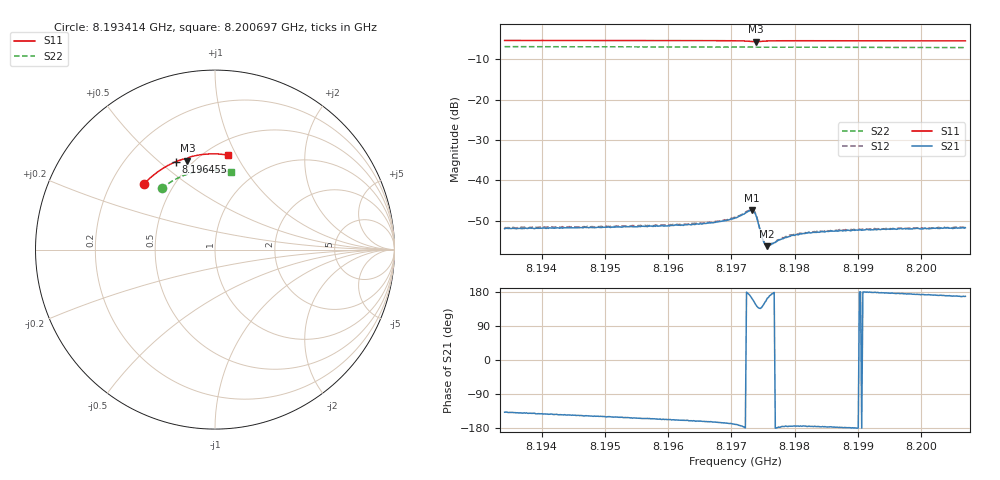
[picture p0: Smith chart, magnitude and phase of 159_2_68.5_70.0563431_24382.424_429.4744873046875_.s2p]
#  HZ  S  RI  R  50.00
! Rohde & Schwarz Vector Network Analyzer
! Rohde-Schwarz,ZNB20-2Port,1311601062101988,3.16
! Created: UTC 3/20/2024, 5:10:51 PM
! freq[Hz]  re:S11  im:S11  re:S21  im:S21  re:S12  im:S12  re:S22  im:S22
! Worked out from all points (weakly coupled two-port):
!   401 points, 8.193414 GHz to 8.200697 GHz, reference 50 ohm
!   highest |S21| = -47.38 dB at 8.197329 GHz (marker M1); lowest = -56.3 dB at 8.197565 GHz (marker M2)
!   lowest |S11| = -5.7 dB at 8.197383 GHz (marker M3), VSWR 3.16, Z = 23.1 + j31.4 ohm
!   |S11| at or under -10 dB: nowhere
!   |S22| runs from -7.1 to -6.9 dB; largest |S21 - S12| = 0.00021
!   S11 on the Smith chart (normalised r, x): 8.193414 GHz: 0.34, +0.35; 8.196455 GHz: 0.41, +0.57; 8.200697 GHz: 0.63, +0.93
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8.1934135e9  -0.3936 0.3683  -0.00187 -0.00169  -0.00199 -0.00172  -0.2971 0.3406
8.1946336e9  -0.3293 0.4255  -0.00218 -0.00142  -0.00227 -0.00138  -0.2414 0.3799
8.1958536e9  -0.2567 0.4718  -0.00249 -0.0011  -0.00261 -0.00103  -0.1804 0.4107
8.1964546e9  -0.2178 0.4902  -0.00274 -0.000941  -0.00283 -0.000841  -0.1486 0.422
8.1968188e9  -0.1927 0.4998  -0.00299 -0.000799  -0.00305 -0.00073  -0.1289 0.4279
8.1970555e9  -0.1747 0.5049  -0.00337 -0.000602  -0.00346 -0.00047  -0.1157 0.4311
8.197274e9  -0.1553 0.5036  -0.00415 0.00047  -0.00418 0.000639  -0.1039 0.4336
8.1973286e9  -0.1522 0.4993  -0.00406 0.00134  -0.00405 0.00156  -0.1007 0.434
8.1973651e9  -0.1528 0.4966  -0.00351 0.00194  -0.00353 0.00213  -0.0989 0.4345
8.1973833e9  -0.154 0.4958  -0.00311 0.00209  -0.00309 0.00229  -0.0981 0.4346
8.1974197e9  -0.1567 0.4969  -0.00227 0.00202  -0.00222 0.00216  -0.0961 0.4349
8.1974925e9  -0.1569 0.5036  -0.00147 0.00113  -0.00146 0.00123  -0.0922 0.4359
8.197529e9  -0.1548 0.5067  -0.00142 0.000746  -0.00142 0.000823  -0.0901 0.4364
8.1975654e9  -0.1522 0.5091  -0.00146 0.000452  -0.00147 0.000549  -0.088 0.4368
8.19762e9  -0.1479 0.5119  -0.00157 0.00024  -0.0016 0.000259  -0.0849 0.4372
8.1977657e9  -0.1365 0.5167  -0.00184 -7.05e-05  -0.00185 -2.52e-05  -0.0767 0.4385
8.1979114e9  -0.1255 0.5198  -0.00201 -0.000189  -0.00209 -0.00015  -0.0687 0.4397
8.1981117e9  -0.111 0.5232  -0.00217 -0.000189  -0.0022 -0.00014  -0.0572 0.4409
8.1982756e9  -0.0992 0.5256  -0.00225 -0.000198  -0.00228 -0.00012  -0.0482 0.4417
8.1987308e9  -0.0666 0.5302  -0.00241 -8.3e-05  -0.00244 1.78e-05  -0.0222 0.4429
8.1994956e9  -0.0124 0.5336  -0.00247 0.000161  -0.0025 0.000277  0.0212 0.4416
8.2006975e9  0.0725 0.5273  -0.00254 0.00054  -0.00254 0.000689  0.0887 0.4308
